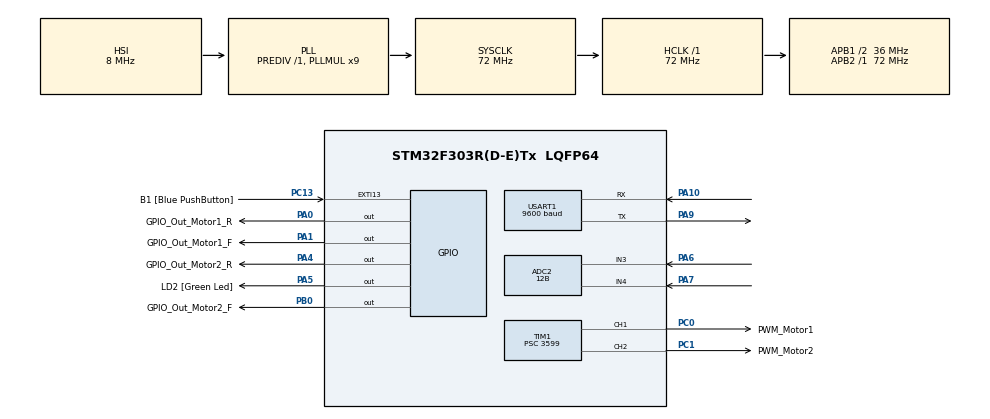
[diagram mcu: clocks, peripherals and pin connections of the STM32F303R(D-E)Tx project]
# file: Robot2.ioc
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ADC2.Channel-10\#ChannelRegularConversion=ADC_CHANNEL_3
ADC2.Channel-11\#ChannelRegularConversion=ADC_CHANNEL_4
ADC2.ClockPrescaler=ADC_CLOCK_SYNC_PCLK_DIV2
ADC2.ContinuousConvMode=ENABLE
ADC2.DMAContinuousRequests=ENABLE
ADC2.DataAlign=ADC_DATAALIGN_RIGHT
ADC2.DiscontinuousConvMode=DISABLE
ADC2.EOCSelection=ADC_EOC_SINGLE_CONV
ADC2.EnableAnalogWatchDog1=false
ADC2.EnableAnalogWatchDog2=false
ADC2.EnableAnalogWatchDog3=false
ADC2.EnableInjectedConversion=ENABLE
ADC2.EnableRegularConversion=ENABLE
ADC2.ExternalTrigConv=ADC_SOFTWARE_START
ADC2.ExternalTrigConvEdge=ADC_EXTERNALTRIGCONVEDGE_NONE
ADC2.InjNumberOfConversion=0
ADC2.LowPowerAutoWait=DISABLE
ADC2.NbrOfConversion=2
ADC2.NbrOfConversionFlag=1
ADC2.Offset-10\#ChannelRegularConversion=0
ADC2.Offset-11\#ChannelRegularConversion=0
ADC2.OffsetNumber-10\#ChannelRegularConversion=ADC_OFFSET_NONE
ADC2.OffsetNumber-11\#ChannelRegularConversion=ADC_OFFSET_NONE
ADC2.Overrun=ADC_OVR_DATA_OVERWRITTEN
ADC2.Rank-10\#ChannelRegularConversion=1
ADC2.Rank-11\#ChannelRegularConversion=2
ADC2.Resolution=ADC_RESOLUTION_12B
ADC2.SamplingTime-10\#ChannelRegularConversion=ADC_SAMPLETIME_601CYCLES_5
ADC2.SamplingTime-11\#ChannelRegularConversion=ADC_SAMPLETIME_601CYCLES_5
ADC2.ScanConvMode=ADC_SCAN_ENABLE
Dma.ADC2.0.Direction=DMA_PERIPH_TO_MEMORY
Dma.ADC2.0.Instance=DMA2_Channel1
Dma.ADC2.0.MemDataAlignment=DMA_MDATAALIGN_WORD
Dma.ADC2.0.MemInc=DMA_MINC_ENABLE
Dma.ADC2.0.Mode=DMA_CIRCULAR
Dma.ADC2.0.PeriphDataAlignment=DMA_PDATAALIGN_WORD
Dma.ADC2.0.PeriphInc=DMA_PINC_DISABLE
Dma.ADC2.0.Priority=DMA_PRIORITY_LOW
Dma.Request0=ADC2
Mcu.Family=STM32F3
Mcu.Name=STM32F303R(D-E)Tx
Mcu.Package=LQFP64
NVIC.DMA2_Channel1_IRQn=true\:0\:0\:false\:false\:true
NVIC.PriorityGroup=NVIC_PRIORITYGROUP_0
NVIC.USART1_IRQn=true\:0\:0\:false\:false\:true
PA0.GPIO_Label=GPIO_Out_Motor1_R
PA0.Signal=GPIO_Output
PA1.GPIO_Label=GPIO_Out_Motor1_F
PA1.Signal=GPIO_Output
PA10.Mode=Asynchronous
PA10.Signal=USART1_RX
PA13.GPIO_Label=TMS
PA13.Signal=SYS_JTMS-SWDIO
PA14.GPIO_Label=TCK
PA14.Signal=SYS_JTCK-SWCLK
PA2.GPIO_Label=USART_TX
PA2.GPIO_Mode=GPIO_MODE_AF_PP
PA2.GPIO_PuPd=GPIO_NOPULL
PA2.GPIO_Speed=GPIO_SPEED_FREQ_LOW
PA2.Signal=USART2_TX
PA3.GPIO_Label=USART_RX
PA3.GPIO_Mode=GPIO_MODE_AF_PP
PA3.GPIO_PuPd=GPIO_NOPULL
PA3.GPIO_Speed=GPIO_SPEED_FREQ_LOW
PA3.Signal=USART2_RX
PA4.GPIO_Label=GPIO_Out_Motor2_R
PA4.Signal=GPIO_Output
PA5.GPIO_Label=LD2 [Green Led]
PA5.GPIO_Mode=GPIO_MODE_OUTPUT_PP
PA5.GPIO_PuPd=GPIO_NOPULL
PA5.GPIO_Speed=GPIO_SPEED_FREQ_LOW
PA5.Signal=GPIO_Output
PA6.Mode=IN3-Single-Ended
PA6.Signal=ADC2_IN3
PA7.Mode=IN4-Single-Ended
PA7.Signal=ADC2_IN4
PA9.Mode=Asynchronous
PA9.Signal=USART1_TX
PB0.GPIO_Label=GPIO_Out_Motor2_F
PB0.Signal=GPIO_Output
PB3.GPIO_Label=SWO
PB3.Signal=SYS_JTDO-TRACESWO
PC0.GPIO_Label=PWM_Motor1
PC0.Signal=S_TIM1_CH1
PC1.GPIO_Label=PWM_Motor2
PC1.Signal=S_TIM1_CH2
PC13.GPIO_Label=B1 [Blue PushButton]
PC13.GPIO_ModeDefaultEXTI=GPIO_MODE_IT_FALLING
PC13.Signal=GPXTI13
PC14-OSC32_IN.Signal=RCC_OSC32_IN
PC15-OSC32_OUT.Signal=RCC_OSC32_OUT
PF0-OSC_IN.Signal=RCC_OSC_IN
PF1-OSC_OUT.Signal=RCC_OSC_OUT
ProjectManager.HeapSize=0x200
ProjectManager.StackSize=0x400
ProjectManager.TargetToolchain=SW4STM32
RCC.AHBFreq_Value=72000000
RCC.APB1CLKDivider=RCC_HCLK_DIV2
RCC.APB1Freq_Value=36000000
RCC.APB1TimFreq_Value=72000000
RCC.APB2Freq_Value=72000000
RCC.APB2TimFreq_Value=72000000
RCC.CortexFreq_Value=72000000
RCC.HCLKFreq_Value=72000000
RCC.HSE_VALUE=8000000
RCC.HSI_VALUE=8000000
RCC.LSE_VALUE=32768
RCC.PLLM=8
RCC.PLLMUL=RCC_PLL_MUL9
RCC.PLLN=336
RCC.PLLP=RCC_PLLP_DIV4
RCC.PLLQ=7
RCC.RCC_PLLsource_Clock_Source_FROM_HSE=RCC_HSE_PREDIV_DIV2
RCC.SYSCLKFreq_VALUE=72000000
RCC.SYSCLKSourceVirtual=RCC_SYSCLKSOURCE_PLLCLK
RCC.USBFreq_Value=72000000
SH.S_TIM1_CH1.0=TIM1_CH1,PWM Generation1 CH1
SH.S_TIM1_CH2.0=TIM1_CH2,PWM Generation2 CH2
TIM1.Channel-PWM\ Generation1\ CH1=TIM_CHANNEL_1
TIM1.Channel-PWM\ Generation2\ CH2=TIM_CHANNEL_2
TIM1.Period=9
TIM1.Prescaler=3599
USART1.BaudRate=9600
USART1.VirtualMode-Asynchronous=VM_ASYNC
USART1.WordLength=WORDLENGTH_8B
VP_TIM1_VS_ClockSourceINT.Mode=Internal
board=NUCLEO-F303RE

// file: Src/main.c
/**
  ******************************************************************************
  * File Name          : main.c
  * Description        : Main program body
  ******************************************************************************
  ** This notice applies to any and all portions of this file
  * that are not between comment pairs USER CODE BEGIN and
  * USER CODE END. Other portions of this file, whether
  * inserted by the user or by software development tools
  * are owned by their respective copyright owners.
  *
  * COPYRIGHT(c) 2017 STMicroelectronics
  *
  * Redistribution and use in source and binary forms, with or without modification,
  * are permitted provided that the following conditions are met:
  *   1. Redistributions of source code must retain the above copyright notice,
  *      this list of conditions and the following disclaimer.
  *   2. Redistributions in binary form must reproduce the above copyright notice,
  *      this list of conditions and the following disclaimer in the documentation
  *      and/or other materials provided with the distribution.
  *   3. Neither the name of STMicroelectronics nor the names of its contributors
  *      may be used to endorse or promote products derived from this software
  *      without specific prior written permission.
  *
  * THIS SOFTWARE IS PROVIDED BY THE COPYRIGHT HOLDERS AND CONTRIBUTORS "AS IS"
  * AND ANY EXPRESS OR IMPLIED WARRANTIES, INCLUDING, BUT NOT LIMITED TO, THE
  * IMPLIED WARRANTIES OF MERCHANTABILITY AND FITNESS FOR A PARTICULAR PURPOSE ARE
  * DISCLAIMED. IN NO EVENT SHALL THE COPYRIGHT HOLDER OR CONTRIBUTORS BE LIABLE
  * FOR ANY DIRECT, INDIRECT, INCIDENTAL, SPECIAL, EXEMPLARY, OR CONSEQUENTIAL
  * DAMAGES (INCLUDING, BUT NOT LIMITED TO, PROCUREMENT OF SUBSTITUTE GOODS OR
  * SERVICES; LOSS OF USE, DATA, OR PROFITS; OR BUSINESS INTERRUPTION) HOWEVER
  * CAUSED AND ON ANY THEORY OF LIABILITY, WHETHER IN CONTRACT, STRICT LIABILITY,
  * OR TORT (INCLUDING NEGLIGENCE OR OTHERWISE) ARISING IN ANY WAY OUT OF THE USE
  * OF THIS SOFTWARE, EVEN IF ADVISED OF THE POSSIBILITY OF SUCH DAMAGE.
  *
  ******************************************************************************
  */
#include "main.h"
#include "stm32f3xx_hal.h"

/* USER CODE BEGIN Includes */
#include "math.h"
/* USER CODE END Includes */

ADC_HandleTypeDef hadc2;
DMA_HandleTypeDef hdma_adc2;

TIM_HandleTypeDef htim1;

UART_HandleTypeDef huart1;

/* USER CODE BEGIN PV */
/* Private variables ---------------------------------------------------------*/
uint32_t InputVals[2];
float OutputVals[4];
float sum1;
float wyk;

uint8_t inputLayer;
uint8_t hiddenLayer;
uint8_t outputLayer;

float inputWeights[3][8];
float hiddenWeights[9][4];

float inputNeurons[2];
float hiddenNeurons[8];
float outputNeurons[4];

/* USER CODE END PV */

void SystemClock_Config(void);
static void MX_GPIO_Init(void);
static void MX_DMA_Init(void);
static void MX_USART1_UART_Init(void);
static void MX_TIM1_Init(void);
static void MX_ADC2_Init(void);

void HAL_TIM_MspPostInit(TIM_HandleTypeDef *htim);

/* USER CODE BEGIN PFP */
/* Private function prototypes -----------------------------------------------*/

float tansig(float value) {
	wyk = (-2.0) * value;
	return (2.0 / (1.0 + expf(wyk))) -1.0;
}

void feedForward(uint8_t inL, uint8_t hidL, uint8_t outL, float inW[3][8], float hidW[9][4], float inN[2], float hidN[2], float outN[2], uint32_t input[], float output[]) {
	//uint8_t j, k, l;

	inN[0] = (1.0+1.0)*(input[0] - 1000.0) / (1900.0 - 1000.0) - 1.0;
	inN[1] = (1.0+1.0)*(input[1] - 1000.0) / (1900.0 - 1000.0) - 1.0;

	sum1 = inN[0] * inW[0][0] + inN[1] * inW[1][0] + inW[2][0];
	hidN[0] = tansig(sum1);
	sum1 = inN[0] * inW[0][1] + inN[1] * inW[1][1] + inW[2][1];
	hidN[1] = tansig(sum1);
	sum1 = inN[0] * inW[0][2] + inN[1] * inW[1][2] + inW[2][2];
	hidN[2] = tansig(sum1);
	sum1 = inN[0] * inW[0][3] + inN[1] * inW[1][3] + inW[2][3];
	hidN[3] = tansig(sum1);
	sum1 = inN[0] * inW[0][4] + inN[1] * inW[1][4] + inW[2][4];
	hidN[4] = tansig(sum1);
	sum1 = inN[0] * inW[0][5] + inN[1] * inW[1][5] + inW[2][5];
	hidN[5] = tansig(sum1);
	sum1 = inN[0] * inW[0][6] + inN[1] * inW[1][6] + inW[2][6];
	hidN[6] = tansig(sum1);
	sum1 = inN[0] * inW[0][7] + inN[1] * inW[1][7] + inW[2][7];
	hidN[7] = tansig(sum1);

	outN[0] = hidN[0] * hidW[0][0] + hidN[1] * hidW[1][0] + hidN[2] * hidW[2][0] + hidN[3] * hidW[3][0] + hidN[4] * hidW[4][0] + hidN[5] * hidW[5][0]
						+ hidN[6] * hidW[6][0] + hidN[7] * hidW[7][0] + hidW[8][0];
	outN[1] = hidN[0] * hidW[0][1] + hidN[1] * hidW[1][1] + hidN[2] * hidW[2][1] + hidN[3] * hidW[3][1] + hidN[4] * hidW[4][1] + hidN[5] * hidW[5][1]
						+ hidN[6] * hidW[6][1] + hidN[7] * hidW[7][1] + hidW[8][1];
	outN[2] = hidN[0] * hidW[0][2] + hidN[1] * hidW[1][2] + hidN[2] * hidW[2][2] + hidN[3] * hidW[3][2] + hidN[4] * hidW[4][2] + hidN[5] * hidW[5][2]
						+ hidN[6] * hidW[6][2] + hidN[7] * hidW[7][2] + hidW[8][2];
	outN[3] = hidN[0] * hidW[0][3] + hidN[1] * hidW[1][3] + hidN[2] * hidW[2][3] + hidN[3] * hidW[3][3] + hidN[4] * hidW[4][3] + hidN[5] * hidW[5][3]
						+ hidN[6] * hidW[6][3] + hidN[7] * hidW[7][3] + hidW[8][3];

	output[0] = (uint32_t)round((10.0 - 5.0) * (outN[0] + 1.0) / (1.0 + 1.0) + 5.0);
	output[1] = (uint32_t)round((10.0 - 5.0) * (outN[1] + 1.0) / (1.0 + 1.0) + 5.0);
	output[2] = ((1.0 + 1.0) * (outN[2] + 1.0) / (1.0 + 1.0) - 1.0);
	output[3] = ((1.0 + 1.0) * (outN[3] + 1.0) / (1.0 + 1.0) - 1.0);
/*
	for (l = 0; l < layers.hidden; l++) {
		sum1 = 0;
		for (j = 0; j < layers.input; j++) { sum1 += neurons.input[j] * weights.input[j][l]; }
		sum1 += 1 * weights.input[j+1][l];
		neurons.hidden[l] = tansig(sum1);
		checkHidden[l] = neurons.hidden[l];
	}
	*/
/*
	for (k = 0; k < layers.output; k++) {
		sum2 = 0;
		for (j = 0; j < layers.hidden; j++) { sum2 += neurons.hidden[j] * weights.hidden[j][k]; }
		sum2 += 1 * weights.hidden[j+1][k];

		checkOutput[k] = neurons.output[k];
		if (k == 0 || k == 1) { output[k] = (uint32_t)((50.0 - 10.0) * (neurons.output[k] + 1.0) / (1.0 + 1.0) + 10.0); }
		if (k == 2 || k == 3) { output[k] = (uint32_t)((1.0 + 1.0) * (neurons.output[k] + 1.0) / (1.0 + 1.0) - 1.0); }
	}
	*/
}
/* USER CODE END PFP */

int main(void)
{

  /* MCU Configuration----------------------------------------------------------*/

  /* Reset of all peripherals, Initializes the Flash interface and the Systick. */
  HAL_Init();

  /* Configure the system clock */
  SystemClock_Config();

  /* Initialize all configured peripherals */
  MX_GPIO_Init();
  MX_DMA_Init();
  MX_USART1_UART_Init();
  MX_TIM1_Init();
  MX_ADC2_Init();

  /* USER CODE BEGIN 2 */
  HAL_TIM_PWM_Start(&htim1, TIM_CHANNEL_1);
  HAL_TIM_PWM_Start(&htim1, TIM_CHANNEL_2);

  HAL_ADC_Start_DMA(&hadc2, (uint32_t*)InputVals, 2);

  //	Budowa sieci
  inputLayer = 2;
  hiddenLayer = 8;
  outputLayer = 4;

  //	Wagi
  inputWeights[0][0] =   3.97681621216933;
  inputWeights[0][1] =  -3.43496298788826;
  inputWeights[0][2] =   0.51806207013445;
  inputWeights[0][3] =   0.82171043263078;
  inputWeights[0][4] =   0.71482567750189;
  inputWeights[0][5] =   3.13587278595063;
  inputWeights[0][6] =  -1.13347989568598;
  inputWeights[0][7] =   2.75103671091913;

  inputWeights[1][0] =  -1.12567585837059;
  inputWeights[1][1] =  -5.60379820912743;
  inputWeights[1][2] =  -1.67260335217006;
  inputWeights[1][3] =  -0.59083546705418;
  inputWeights[1][4] =   2.04527923010639;
  inputWeights[1][5] =   2.53399406174777;
  inputWeights[1][6] =  -4.57620518303079;
  inputWeights[1][7] =   1.37198169402332;

  inputWeights[2][0] =  -3.51380189962795;
  inputWeights[2][1] =   5.82953064721858;
  inputWeights[2][2] =   0.13605362831278;
  inputWeights[2][3] =   0.29849016329210;
  inputWeights[2][4] =  -1.17434690710991;
  inputWeights[2][5] =   1.96714436336079;
  inputWeights[2][6] =  -1.62541860897994;
  inputWeights[2][7] =   2.79152826743692;

  hiddenWeights[0][0] =  -0.374539869053815;
  hiddenWeights[0][1] =   0.005209587497091;
  hiddenWeights[0][2] =   1.450415974891660;
  hiddenWeights[0][3] =   1.450512795351500;

  hiddenWeights[1][0] =   0.045091367937266;
  hiddenWeights[1][1] =   0.105106685428046;
  hiddenWeights[1][2] =  -0.730598594275543;
  hiddenWeights[1][3] =  -0.730520130391922;

  hiddenWeights[2][0] =   0.163770796582358;
  hiddenWeights[2][1] =  -0.199147228985666;
  hiddenWeights[2][2] =   3.122170139602460;
  hiddenWeights[2][3] =   3.123815518815370;

  hiddenWeights[3][0] =  -1.270754271837920;
  hiddenWeights[3][1] =   0.710953002540675;
  hiddenWeights[3][2] =  -3.389839440958070;
  hiddenWeights[3][3] =  -3.391039100880490;

  hiddenWeights[4][0] =  -0.242669899517994;
  hiddenWeights[4][1] =  -0.646304722160610;
  hiddenWeights[4][2] =   2.148537956459040;
  hiddenWeights[4][3] =   2.149746437647770;

  hiddenWeights[5][0] =  -0.158782162500928;
  hiddenWeights[5][1] =  -0.146909674635699;
  hiddenWeights[5][2] =  -0.009617146295958;
  hiddenWeights[5][3] =  -0.008957030265926;

  hiddenWeights[6][0] =   0.120545026126452;
  hiddenWeights[6][1] =   0.269719021014171;
  hiddenWeights[6][2] =  -0.403459385194824;
  hiddenWeights[6][3] =  -0.403554762692929;

  hiddenWeights[7][0] =   0.221448389101420;
  hiddenWeights[7][1] =   0.086036007781647;
  hiddenWeights[7][2] =   0.826170858432722;
  hiddenWeights[7][3] =   0.823929019418342;

  hiddenWeights[8][0] =  -0.145356096680302;
  hiddenWeights[8][1] =  -0.346164769000769;
  hiddenWeights[8][2] =   2.12361827932047;
  hiddenWeights[8][3] =   2.12594115099956;
  /* USER CODE END 2 */

  /* Infinite loop */
  /* USER CODE BEGIN WHILE */
  while (1)
  {
	  feedForward(inputLayer, hiddenLayer, outputLayer, inputWeights, hiddenWeights, inputNeurons, hiddenNeurons, outputNeurons, InputVals, OutputVals);
	  /*
	   * Zamienic zakresy steruj¹ce predkoscia timerow i PWM
	   * Zakres 1-5, gdzie poziomy wynosz¹ odpowiednio: 20%, 40%, 60%, 80% i 100%, a 0 to 0%.
	   */

	  TIM1->CCR1 = OutputVals[0];
	  TIM1->CCR2 = OutputVals[1];
	  //if (OutputVals[0] >= 10) { TIM1->CCR1 = 16; TIM1->CCR2 = 2; } else { TIM1->CCR1 = 2; TIM1->CCR2 = 16; }

	  if (OutputVals[2] > 0) {
		  HAL_GPIO_WritePin(GPIO_Out_Motor1_F_GPIO_Port, GPIO_Out_Motor1_F_Pin, GPIO_PIN_SET);
		  HAL_GPIO_WritePin(GPIO_Out_Motor1_R_GPIO_Port, GPIO_Out_Motor1_R_Pin, GPIO_PIN_RESET);
	  }
	  else {
		  HAL_GPIO_WritePin(GPIO_Out_Motor1_F_GPIO_Port, GPIO_Out_Motor1_F_Pin, GPIO_PIN_RESET);
		  HAL_GPIO_WritePin(GPIO_Out_Motor1_R_GPIO_Port, GPIO_Out_Motor1_R_Pin, GPIO_PIN_SET);
	  }

	  if (OutputVals[3] > 0) {
		  HAL_GPIO_WritePin(GPIO_Out_Motor2_F_GPIO_Port, GPIO_Out_Motor2_F_Pin, GPIO_PIN_SET);
		  HAL_GPIO_WritePin(GPIO_Out_Motor2_R_GPIO_Port, GPIO_Out_Motor2_R_Pin, GPIO_PIN_RESET);
	  }
	  else {
		  HAL_GPIO_WritePin(GPIO_Out_Motor2_F_GPIO_Port, GPIO_Out_Motor2_F_Pin, GPIO_PIN_RESET);
		  HAL_GPIO_WritePin(GPIO_Out_Motor2_R_GPIO_Port, GPIO_Out_Motor2_R_Pin, GPIO_PIN_SET);
	  }

	  HAL_Delay(100);

	  /*
	  if (OutputVals[0] <= 0.5) { TIM1->CCR1 = 100; left = 0; }
	  else if (OutputVals[0] > 0.5 && OutputVals[0] <= 1.5) { TIM1->CCR1 = 300; left = 1; }
	  else if (OutputVals[0] > 1.5) { TIM1->CCR1 = 500; left = 2; }

	  if (OutputVals[1] <= 0.5) { TIM1->CCR2 = 100; right = 0; }
	  else if (OutputVals[1] > 0.5 && OutputVals[2] <= 1.5) { TIM1->CCR2 = 300; right = 1; }
	  else if (OutputVals[1] > 1.5) { TIM1->CCR2 = 500; right = 2; }

	  if (OutputVals[2] <= 0.0) { HAL_GPIO_WritePin(GPIO_Out_Motor1_GPIO_Port, GPIO_Out_Motor1_Pin, GPIO_PIN_SET); leftDir = 1; }
	  else if (OutputVals[2] > 0.0) { HAL_GPIO_WritePin(GPIO_Out_Motor1_GPIO_Port, GPIO_Out_Motor1_Pin, GPIO_PIN_RESET); leftDir = 0; }

	  if (OutputVals[3] <= 0.0) { HAL_GPIO_WritePin(GPIO_Out_Motor2_GPIO_Port, GPIO_Out_Motor2_Pin, GPIO_PIN_SET); rightDir = 1; }
	  else if (OutputVals[3] > 0.0 ) { HAL_GPIO_WritePin(GPIO_Out_Motor2_GPIO_Port, GPIO_Out_Motor2_Pin, GPIO_PIN_RESET); rightDir = 0; }
	  */
  /* USER CODE END WHILE */

  }

}

/** System Clock Configuration
*/
void SystemClock_Config(void)
{

  RCC_OscInitTypeDef RCC_OscInitStruct;
  RCC_ClkInitTypeDef RCC_ClkInitStruct;
  RCC_PeriphCLKInitTypeDef PeriphClkInit;

    /**Initializes the CPU, AHB and APB busses clocks
    */
  RCC_OscInitStruct.OscillatorType = RCC_OSCILLATORTYPE_HSI;
  RCC_OscInitStruct.HSIState = RCC_HSI_ON;
  RCC_OscInitStruct.HSICalibrationValue = 16;
  RCC_OscInitStruct.PLL.PLLState = RCC_PLL_ON;
  RCC_OscInitStruct.PLL.PLLSource = RCC_PLLSOURCE_HSI;
  RCC_OscInitStruct.PLL.PLLMUL = RCC_PLL_MUL9;
  RCC_OscInitStruct.PLL.PREDIV = RCC_PREDIV_DIV1;
  if (HAL_RCC_OscConfig(&RCC_OscInitStruct) != HAL_OK)
  {
    _Error_Handler(__FILE__, __LINE__);
  }

    /**Initializes the CPU, AHB and APB busses clocks
    */
  RCC_ClkInitStruct.ClockType = RCC_CLOCKTYPE_HCLK|RCC_CLOCKTYPE_SYSCLK
                              |RCC_CLOCKTYPE_PCLK1|RCC_CLOCKTYPE_PCLK2;
  RCC_ClkInitStruct.SYSCLKSource = RCC_SYSCLKSOURCE_PLLCLK;
  RCC_ClkInitStruct.AHBCLKDivider = RCC_SYSCLK_DIV1;
  RCC_ClkInitStruct.APB1CLKDivider = RCC_HCLK_DIV2;
  RCC_ClkInitStruct.APB2CLKDivider = RCC_HCLK_DIV1;

  if (HAL_RCC_ClockConfig(&RCC_ClkInitStruct, FLASH_LATENCY_2) != HAL_OK)
  {
    _Error_Handler(__FILE__, __LINE__);
  }

  PeriphClkInit.PeriphClockSelection = RCC_PERIPHCLK_USART1|RCC_PERIPHCLK_TIM1;
  PeriphClkInit.Usart1ClockSelection = RCC_USART1CLKSOURCE_PCLK2;
  PeriphClkInit.Tim1ClockSelection = RCC_TIM1CLK_HCLK;
  if (HAL_RCCEx_PeriphCLKConfig(&PeriphClkInit) != HAL_OK)
  {
    _Error_Handler(__FILE__, __LINE__);
  }

    /**Configure the Systick interrupt time
    */
  HAL_SYSTICK_Config(HAL_RCC_GetHCLKFreq()/1000);

    /**Configure the Systick
    */
  HAL_SYSTICK_CLKSourceConfig(SYSTICK_CLKSOURCE_HCLK);

  /* SysTick_IRQn interrupt configuration */
  HAL_NVIC_SetPriority(SysTick_IRQn, 0, 0);
}

/* ADC2 init function */
static void MX_ADC2_Init(void)
{

  ADC_ChannelConfTypeDef sConfig;

    /**Common config
    */
  hadc2.Instance = ADC2;
  hadc2.Init.ClockPrescaler = ADC_CLOCK_SYNC_PCLK_DIV2;
  hadc2.Init.Resolution = ADC_RESOLUTION_12B;
  hadc2.Init.ScanConvMode = ADC_SCAN_ENABLE;
  hadc2.Init.ContinuousConvMode = ENABLE;
  hadc2.Init.DiscontinuousConvMode = DISABLE;
  hadc2.Init.ExternalTrigConvEdge = ADC_EXTERNALTRIGCONVEDGE_NONE;
  hadc2.Init.ExternalTrigConv = ADC_SOFTWARE_START;
  hadc2.Init.DataAlign = ADC_DATAALIGN_RIGHT;
  hadc2.Init.NbrOfConversion = 2;
  hadc2.Init.DMAContinuousRequests = ENABLE;
  hadc2.Init.EOCSelection = ADC_EOC_SINGLE_CONV;
  hadc2.Init.LowPowerAutoWait = DISABLE;
  hadc2.Init.Overrun = ADC_OVR_DATA_OVERWRITTEN;
  if (HAL_ADC_Init(&hadc2) != HAL_OK)
  {
    _Error_Handler(__FILE__, __LINE__);
  }

    /**Configure Regular Channel
    */
  sConfig.Channel = ADC_CHANNEL_3;
  sConfig.Rank = 1;
  sConfig.SingleDiff = ADC_SINGLE_ENDED;
  sConfig.SamplingTime = ADC_SAMPLETIME_601CYCLES_5;
  sConfig.OffsetNumber = ADC_OFFSET_NONE;
  sConfig.Offset = 0;
  if (HAL_ADC_ConfigChannel(&hadc2, &sConfig) != HAL_OK)
  {
    _Error_Handler(__FILE__, __LINE__);
  }

    /**Configure Regular Channel
    */
  sConfig.Channel = ADC_CHANNEL_4;
  sConfig.Rank = 2;
  if (HAL_ADC_ConfigChannel(&hadc2, &sConfig) != HAL_OK)
  {
    _Error_Handler(__FILE__, __LINE__);
  }

}

/* TIM1 init function */
static void MX_TIM1_Init(void)
{

  TIM_ClockConfigTypeDef sClockSourceConfig;
  TIM_MasterConfigTypeDef sMasterConfig;
  TIM_OC_InitTypeDef sConfigOC;
  TIM_BreakDeadTimeConfigTypeDef sBreakDeadTimeConfig;

  htim1.Instance = TIM1;
  htim1.Init.Prescaler = 3599;
  htim1.Init.CounterMode = TIM_COUNTERMODE_UP;
  htim1.Init.Period = 9;
  htim1.Init.ClockDivision = TIM_CLOCKDIVISION_DIV1;
  htim1.Init.RepetitionCounter = 0;
  htim1.Init.AutoReloadPreload = TIM_AUTORELOAD_PRELOAD_DISABLE;
  if (HAL_TIM_Base_Init(&htim1) != HAL_OK)
  {
    _Error_Handler(__FILE__, __LINE__);
  }

  sClockSourceConfig.ClockSource = TIM_CLOCKSOURCE_INTERNAL;
  if (HAL_TIM_ConfigClockSource(&htim1, &sClockSourceConfig) != HAL_OK)
  {
    _Error_Handler(__FILE__, __LINE__);
  }

  if (HAL_TIM_PWM_Init(&htim1) != HAL_OK)
  {
    _Error_Handler(__FILE__, __LINE__);
  }

  sMasterConfig.MasterOutputTrigger = TIM_TRGO_RESET;
  sMasterConfig.MasterOutputTrigger2 = TIM_TRGO2_RESET;
  sMasterConfig.MasterSlaveMode = TIM_MASTERSLAVEMODE_DISABLE;
  if (HAL_TIMEx_MasterConfigSynchronization(&htim1, &sMasterConfig) != HAL_OK)
  {
    _Error_Handler(__FILE__, __LINE__);
  }

  sConfigOC.OCMode = TIM_OCMODE_PWM1;
  sConfigOC.Pulse = 0;
  sConfigOC.OCPolarity = TIM_OCPOLARITY_HIGH;
  sConfigOC.OCNPolarity = TIM_OCNPOLARITY_HIGH;
  sConfigOC.OCFastMode = TIM_OCFAST_DISABLE;
  sConfigOC.OCIdleState = TIM_OCIDLESTATE_RESET;
  sConfigOC.OCNIdleState = TIM_OCNIDLESTATE_RESET;
  if (HAL_TIM_PWM_ConfigChannel(&htim1, &sConfigOC, TIM_CHANNEL_1) != HAL_OK)
  {
    _Error_Handler(__FILE__, __LINE__);
  }

  if (HAL_TIM_PWM_ConfigChannel(&htim1, &sConfigOC, TIM_CHANNEL_2) != HAL_OK)
  {
    _Error_Handler(__FILE__, __LINE__);
  }

  sBreakDeadTimeConfig.OffStateRunMode = TIM_OSSR_DISABLE;
  sBreakDeadTimeConfig.OffStateIDLEMode = TIM_OSSI_DISABLE;
  sBreakDeadTimeConfig.LockLevel = TIM_LOCKLEVEL_OFF;
  sBreakDeadTimeConfig.DeadTime = 0;
  sBreakDeadTimeConfig.BreakState = TIM_BREAK_DISABLE;
  sBreakDeadTimeConfig.BreakPolarity = TIM_BREAKPOLARITY_HIGH;
  sBreakDeadTimeConfig.BreakFilter = 0;
  sBreakDeadTimeConfig.Break2State = TIM_BREAK2_DISABLE;
  sBreakDeadTimeConfig.Break2Polarity = TIM_BREAK2POLARITY_HIGH;
  sBreakDeadTimeConfig.Break2Filter = 0;
  sBreakDeadTimeConfig.AutomaticOutput = TIM_AUTOMATICOUTPUT_DISABLE;
  if (HAL_TIMEx_ConfigBreakDeadTime(&htim1, &sBreakDeadTimeConfig) != HAL_OK)
  {
    _Error_Handler(__FILE__, __LINE__);
  }

  HAL_TIM_MspPostInit(&htim1);

}

/* USART1 init function */
static void MX_USART1_UART_Init(void)
{

  huart1.Instance = USART1;
  huart1.Init.BaudRate = 9600;
  huart1.Init.WordLength = UART_WORDLENGTH_8B;
  huart1.Init.StopBits = UART_STOPBITS_1;
  huart1.Init.Parity = UART_PARITY_NONE;
  huart1.Init.Mode = UART_MODE_TX_RX;
  huart1.Init.HwFlowCtl = UART_HWCONTROL_NONE;
  huart1.Init.OverSampling = UART_OVERSAMPLING_16;
  huart1.Init.OneBitSampling = UART_ONE_BIT_SAMPLE_DISABLE;
  huart1.AdvancedInit.AdvFeatureInit = UART_ADVFEATURE_NO_INIT;
  if (HAL_UART_Init(&huart1) != HAL_OK)
  {
    _Error_Handler(__FILE__, __LINE__);
  }

}

static void MX_DMA_Init(void)
{
  /* DMA controller clock enable */
  __HAL_RCC_DMA2_CLK_ENABLE();

  /* DMA interrupt init */
  /* DMA2_Channel1_IRQn interrupt configuration */
  HAL_NVIC_SetPriority(DMA2_Channel1_IRQn, 0, 0);
  HAL_NVIC_EnableIRQ(DMA2_Channel1_IRQn);

}

/** Configure pins as
        * Analog
        * Input
        * Output
        * EVENT_OUT
        * EXTI
     PA2   ------> USART2_TX
     PA3   ------> USART2_RX
*/
static void MX_GPIO_Init(void)
{

  GPIO_InitTypeDef GPIO_InitStruct;

  /* GPIO Ports Clock Enable */
  __HAL_RCC_GPIOC_CLK_ENABLE();
  __HAL_RCC_GPIOF_CLK_ENABLE();
  __HAL_RCC_GPIOA_CLK_ENABLE();
  __HAL_RCC_GPIOB_CLK_ENABLE();

  /*Configure GPIO pin Output Level */
  HAL_GPIO_WritePin(GPIOA, GPIO_Out_Motor1_R_Pin|GPIO_Out_Motor1_F_Pin|GPIO_Out_Motor2_R_Pin|LD2_Pin, GPIO_PIN_RESET);

  /*Configure GPIO pin Output Level */
  HAL_GPIO_WritePin(GPIO_Out_Motor2_F_GPIO_Port, GPIO_Out_Motor2_F_Pin, GPIO_PIN_RESET);

  /*Configure GPIO pin : B1_Pin */
  GPIO_InitStruct.Pin = B1_Pin;
  GPIO_InitStruct.Mode = GPIO_MODE_IT_FALLING;
  GPIO_InitStruct.Pull = GPIO_NOPULL;
  HAL_GPIO_Init(B1_GPIO_Port, &GPIO_InitStruct);

  /*Configure GPIO pins : GPIO_Out_Motor1_R_Pin GPIO_Out_Motor1_F_Pin GPIO_Out_Motor2_R_Pin LD2_Pin */
  GPIO_InitStruct.Pin = GPIO_Out_Motor1_R_Pin|GPIO_Out_Motor1_F_Pin|GPIO_Out_Motor2_R_Pin|LD2_Pin;
  GPIO_InitStruct.Mode = GPIO_MODE_OUTPUT_PP;
  GPIO_InitStruct.Pull = GPIO_NOPULL;
  GPIO_InitStruct.Speed = GPIO_SPEED_FREQ_LOW;
  HAL_GPIO_Init(GPIOA, &GPIO_InitStruct);

  /*Configure GPIO pins : USART_TX_Pin USART_RX_Pin */
  GPIO_InitStruct.Pin = USART_TX_Pin|USART_RX_Pin;
  GPIO_InitStruct.Mode = GPIO_MODE_AF_PP;
  GPIO_InitStruct.Pull = GPIO_NOPULL;
  GPIO_InitStruct.Speed = GPIO_SPEED_FREQ_LOW;
  GPIO_InitStruct.Alternate = GPIO_AF7_USART2;
  HAL_GPIO_Init(GPIOA, &GPIO_InitStruct);

  /*Configure GPIO pin : GPIO_Out_Motor2_F_Pin */
  GPIO_InitStruct.Pin = GPIO_Out_Motor2_F_Pin;
  GPIO_InitStruct.Mode = GPIO_MODE_OUTPUT_PP;
  GPIO_InitStruct.Pull = GPIO_NOPULL;
  GPIO_InitStruct.Speed = GPIO_SPEED_FREQ_LOW;
  HAL_GPIO_Init(GPIO_Out_Motor2_F_GPIO_Port, &GPIO_InitStruct);

}

void _Error_Handler(char * file, int line)
{
  while(1)
  {
  }
}

/************************ (C) COPYRIGHT STMicroelectronics *****END OF FILE****/
